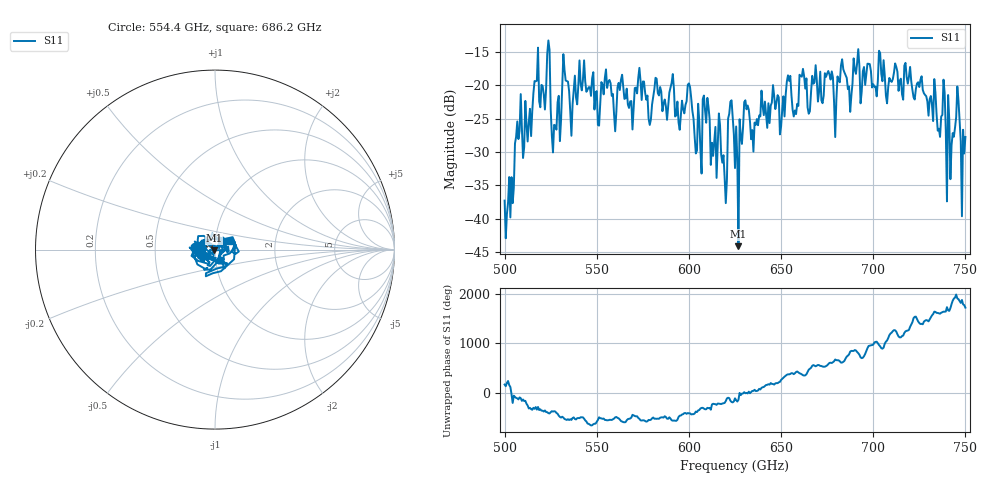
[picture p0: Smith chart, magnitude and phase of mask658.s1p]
!Created with skrf (http://scikit-rf.org).
# GHz S MA R 50.0
!freq magS11 angS11
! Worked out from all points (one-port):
!   401 points, 500 GHz to 750 GHz, reference 50 ohm
!   lowest |S11| = -44.1 dB at 626.9 GHz (marker M1), VSWR 1.01, Z = 49.5 - j0.392 ohm
!   |S11| at or under -10 dB: start of sweep to end of sweep
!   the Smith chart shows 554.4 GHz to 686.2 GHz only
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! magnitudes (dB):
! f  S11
! 500 GHz  -37.3
! 507.5 GHz  -28.1
! 513.8 GHz  -23.5
! 516.9 GHz  -19.4
! 523.8 GHz  -13.3
! 526.9 GHz  -25.9
! 531.2 GHz  -20.2
! 562.5 GHz  -20.7
! 579.4 GHz  -25.1
! 590.6 GHz  -19.6
! 593.8 GHz  -22.4
! 600 GHz  -19.7
! 605.6 GHz  -25.4
! 608.8 GHz  -23.8
! 619.4 GHz  -33.8
! 622.5 GHz  -22.5
! 625 GHz  -32.4
! 626.9 GHz  -44.1
! 631.2 GHz  -23.6
! 635 GHz  -29.9
! 656.2 GHz  -23.6
! 687.5 GHz  -24.0
! 690.6 GHz  -18.3
! 718.8 GHz  -19.7
! 738.1 GHz  -19.1
! 741.2 GHz  -25.1
! 745.6 GHz  -20.2
! 750 GHz  -27.7
